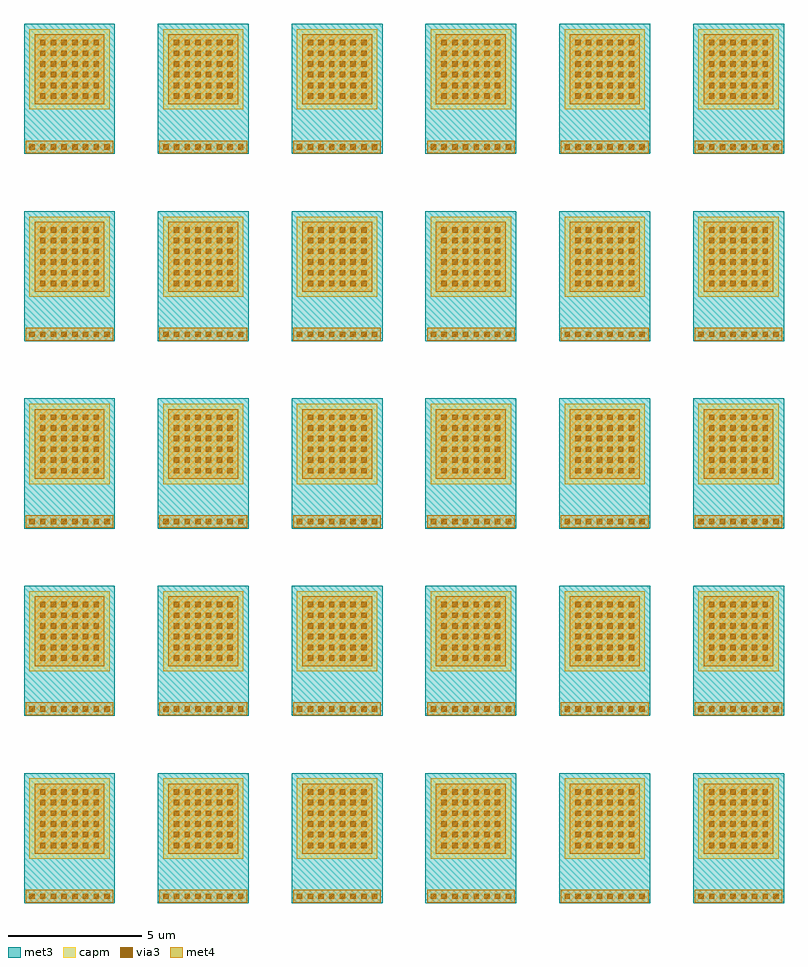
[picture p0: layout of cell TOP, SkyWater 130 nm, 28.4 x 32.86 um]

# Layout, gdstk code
from math import pi, radians
import gdstk
lib = gdstk.Library(unit=1e-6, precision=1e-09)
def R(c, l, rs):  # rectangles x0, y0, x1, y1
    for r in rs: c.add(gdstk.rectangle(r[:2], r[2:], *l))
def A(c, l, x, y, w, h, nx, ny, dx, dy):  # array of equal rectangles
    R(c, l, [(x+i*dx, y+j*dy, x+i*dx+w, y+j*dy+h) for i in range(nx) for j in range(ny)])
met3 = (70, 20)
via3 = (70, 44)
met4 = (71, 20)
capm = (89, 44)

mim_cap_2 = lib.new_cell('mim_cap$2')
R(mim_cap_2, met3, [(-0.2,-0.2,4.66,3.2)])
A(mim_cap_2, via3, 4.3, 0, 0.2, 0.2, 1, 8, 0, 0.4)
A(mim_cap_2, via3, 0.4, 0.4, 0.2, 0.2, 6, 6, 0.4, 0.4)
R(mim_cap_2, met4, [(4.16,-0.14,4.64,3.14), (0.195,0.195,2.805,2.805)])
R(mim_cap_2, capm, [(0,0,3,3)])

top = lib.new_cell('TOP')
top.add(gdstk.Reference(mim_cap_2, (24.135,-13.615), rotation=3*pi/2))
top.add(gdstk.Reference(mim_cap_2, (29.135,-13.615), rotation=3*pi/2))
top.add(gdstk.Reference(mim_cap_2, (34.135,-13.615), rotation=3*pi/2))
top.add(gdstk.Reference(mim_cap_2, (39.135,-13.615), rotation=3*pi/2))
top.add(gdstk.Reference(mim_cap_2, (44.135,-13.615), rotation=3*pi/2))
top.add(gdstk.Reference(mim_cap_2, (49.135,-13.615), rotation=3*pi/2))
top.add(gdstk.Reference(mim_cap_2, (24.135,-20.615), rotation=3*pi/2))
top.add(gdstk.Reference(mim_cap_2, (29.135,-20.615), rotation=3*pi/2))
top.add(gdstk.Reference(mim_cap_2, (34.135,-20.615), rotation=3*pi/2))
top.add(gdstk.Reference(mim_cap_2, (39.135,-20.615), rotation=3*pi/2))
top.add(gdstk.Reference(mim_cap_2, (44.135,-20.615), rotation=3*pi/2))
top.add(gdstk.Reference(mim_cap_2, (49.135,-20.615), rotation=3*pi/2))
top.add(gdstk.Reference(mim_cap_2, (24.135,-27.615), rotation=3*pi/2))
top.add(gdstk.Reference(mim_cap_2, (29.135,-27.615), rotation=3*pi/2))
top.add(gdstk.Reference(mim_cap_2, (34.135,-27.615), rotation=3*pi/2))
top.add(gdstk.Reference(mim_cap_2, (39.135,-27.615), rotation=3*pi/2))
top.add(gdstk.Reference(mim_cap_2, (44.135,-27.615), rotation=3*pi/2))
top.add(gdstk.Reference(mim_cap_2, (49.135,-27.615), rotation=3*pi/2))
top.add(gdstk.Reference(mim_cap_2, (24.135,-34.615), rotation=3*pi/2))
top.add(gdstk.Reference(mim_cap_2, (29.135,-34.615), rotation=3*pi/2))
top.add(gdstk.Reference(mim_cap_2, (34.135,-34.615), rotation=3*pi/2))
top.add(gdstk.Reference(mim_cap_2, (39.135,-34.615), rotation=3*pi/2))
top.add(gdstk.Reference(mim_cap_2, (44.135,-34.615), rotation=3*pi/2))
top.add(gdstk.Reference(mim_cap_2, (49.135,-34.615), rotation=3*pi/2))
top.add(gdstk.Reference(mim_cap_2, (24.135,-41.615), rotation=3*pi/2))
top.add(gdstk.Reference(mim_cap_2, (29.135,-41.615), rotation=3*pi/2))
top.add(gdstk.Reference(mim_cap_2, (34.135,-41.615), rotation=3*pi/2))
top.add(gdstk.Reference(mim_cap_2, (39.135,-41.615), rotation=3*pi/2))
top.add(gdstk.Reference(mim_cap_2, (44.135,-41.615), rotation=3*pi/2))
top.add(gdstk.Reference(mim_cap_2, (49.135,-41.615), rotation=3*pi/2))

lib.write_gds('TOP.gds')
